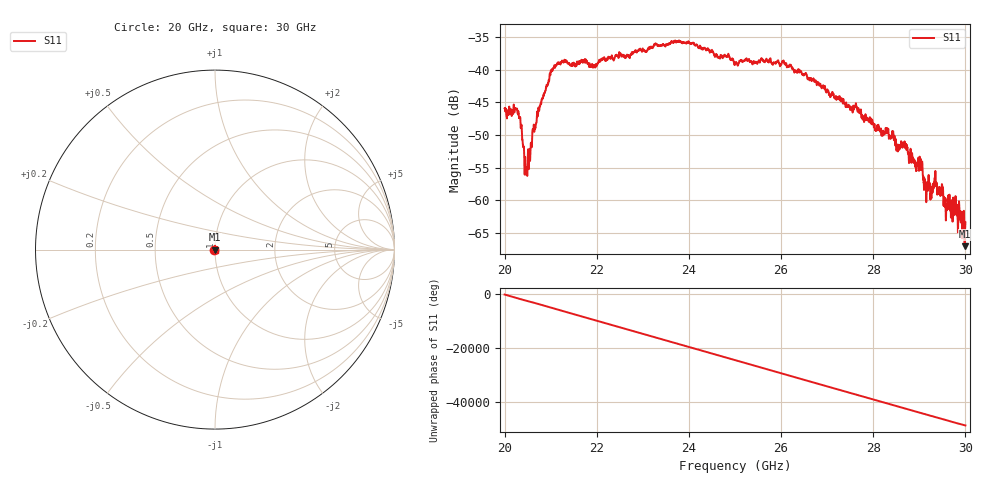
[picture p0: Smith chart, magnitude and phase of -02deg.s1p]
#  HZ  S  RI  R  50.00
! Rohde & Schwarz ZVA40 4Ports - Version 3.90 - 1145.1110k42 SN: 100403
! Date: 2023-10-03 11:33:06
! Measurement: S12
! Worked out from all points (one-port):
!   5001 points, 20 GHz to 30 GHz, reference 50 ohm
!   lowest |S11| = -67.0 dB at 29.98 GHz (marker M1), VSWR 1.00, Z = 50 - j0.000274 ohm
!   |S11| at or under -10 dB: start of sweep to end of sweep
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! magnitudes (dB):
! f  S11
! 20 GHz  -45.9
! 20.29 GHz  -46.8
! 20.37 GHz  -49.0
! 20.44 GHz  -53.4
! 20.48 GHz  -55.5
! 20.75 GHz  -46.3
! 21 GHz  -40.2
! 21.25 GHz  -38.8
! 21.96 GHz  -39.5
! 22.5 GHz  -37.6
! 23.75 GHz  -35.8
! 25 GHz  -39.2
! 25.72 GHz  -38.8
! 26.25 GHz  -39.8
! 27.5 GHz  -46.2
! 27.64 GHz  -45.8
! 28.55 GHz  -51.5
! 28.75 GHz  -52.6
! 28.91 GHz  -54.2
! 29.02 GHz  -55.2
! 29.14 GHz  -57.6
! 29.26 GHz  -59.7
! 29.37 GHz  -57.6
! 29.47 GHz  -58.5
! 29.57 GHz  -61.0
! 29.78 GHz  -62.2
! 29.98 GHz  -67.0
! 30 GHz  -63.4
